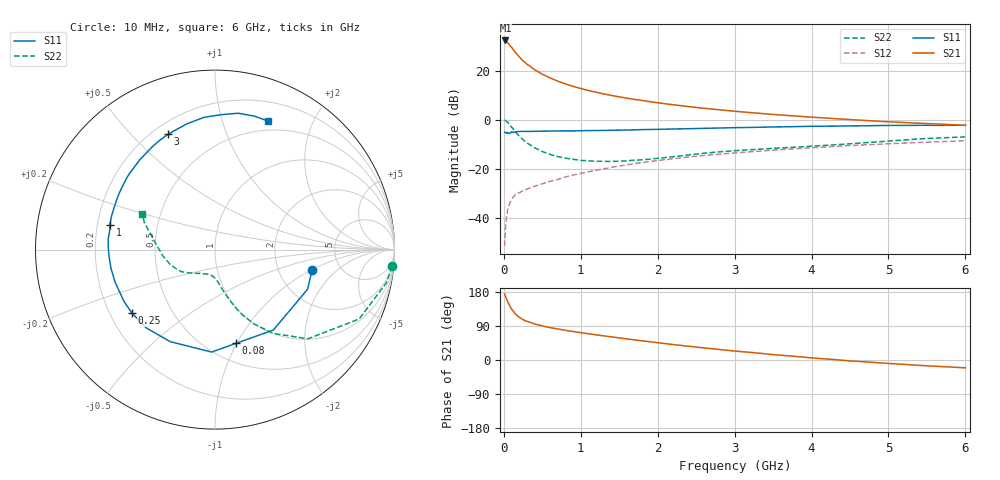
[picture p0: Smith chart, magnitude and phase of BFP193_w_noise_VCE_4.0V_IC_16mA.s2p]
! Infineon Technologies  Discrete & RF Semiconductors
! BFP193
! VCE =  4.0 V,  IC =  16 mA
! Common Emitter S-Parameters:  Jan 2017
# GHz  S  MA  R  50
!  f  S11  S21  S12  S22
! GHz  MAG  ANG  MAG  ANG  MAG  ANG  MAG  ANG
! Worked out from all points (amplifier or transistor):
!   77 points, 10 MHz to 6 GHz, reference 50 ohm
!   highest |S21| = 32.3 dB at 20 MHz (marker M1)
!   |S21| within 3 dB of that: start of sweep to 105.5 MHz
!   unconditionally stable (mu >= 1): 941.5 MHz to 2.546 GHz
!   at 130 MHz: K = 0.33, MSG = 29.7 dB, |S12| = -31.1 dB
!   at 2.2 GHz: K = 1.02, MAG = 10.1 dB, |S12| = -15.8 dB
!   at 6 GHz: K = 0.91, MSG = 3.2 dB, |S12| = -8.5 dB
!   lowest NFmin = 0.97 dB at 450 MHz
!   S11 on the Smith chart (normalised r, x): 10 MHz: 3.12, -1.00; 80 MHz: 0.68, -0.99; 250 MHz: 0.29, -0.31; 1 GHz: 0.25, +0.11; 3 GHz: 0.26, +0.64; 6 GHz: 0.40, +1.42
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0.01  0.5532 -11.6  41.05 174.2  0.0027 85.8  0.9911 -5.3
0.02  0.5611 -23.2  41.17 168.8  0.0061 85.5  0.9723 -11.0
0.05  0.5536 -54.0  37.24 153.3  0.015 70.3  0.8915 -25.7
0.08  0.5351 -77.2  32.38 142.7  0.0206 61.6  0.7777 -35.6
0.1  0.5713 -91.9  29.91 134.0  0.0245 58.1  0.7181 -43.8
0.15  0.5704 -116.0  23.57 121.3  0.0302 50.4  0.5697 -55.1
0.2  0.5806 -131.4  19.12 112.8  0.0329 48.8  0.4672 -62.4
0.25  0.5826 -142.7  15.91 106.3  0.0364 48.3  0.3939 -67.2
0.3  0.5832 -150.4  13.56 102.0  0.039 48.0  0.3395 -70.8
0.4  0.5853 -161.6  10.47 95.0  0.0446 50.0  0.27 -75.6
0.5  0.5888 -169.7  8.47 89.8  0.0501 52.0  0.2269 -79.4
0.6  0.5912 -176.0  7.127 85.5  0.0562 53.6  0.1989 -82.6
0.7  0.5947 179.0  6.132 81.9  0.0612 55.0  0.179 -85.0
1  0.6015 166.6  4.339 72.1  0.0813 56.9  0.1499 -93.8
1.1  0.6055 162.8  3.959 69.3  0.0882 57.3  0.1467 -96.4
1.5  0.6185 150.0  2.931 58.4  0.1148 56.0  0.1442 -110.0
2.1  0.6459 132.8  2.126 43.3  0.1552 51.6  0.1713 -130.0
3  0.6938 112.2  1.495 23.6  0.212 42.6  0.236 -151.5
3.1  0.697 110.3  1.451 21.9  0.2179 41.5  0.2409 -153.7
4.1  0.7412 93.2  1.11 4.1  0.2764 31.1  0.2977 -175.3
5.1  0.7708 78.9  0.897 -10.3  0.3314 19.9  0.3801 164.6
6  0.7748 67.5  0.776 -20.7  0.3753 9.9  0.4501 154.2
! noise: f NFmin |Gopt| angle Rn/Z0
0.45  0.97  0.24  173  0.07
0.9  1.06  0.36  179  0.07
1.9  1.74  0.56  -142  0.14
2.4  2.05  0.62  -125  0.33
